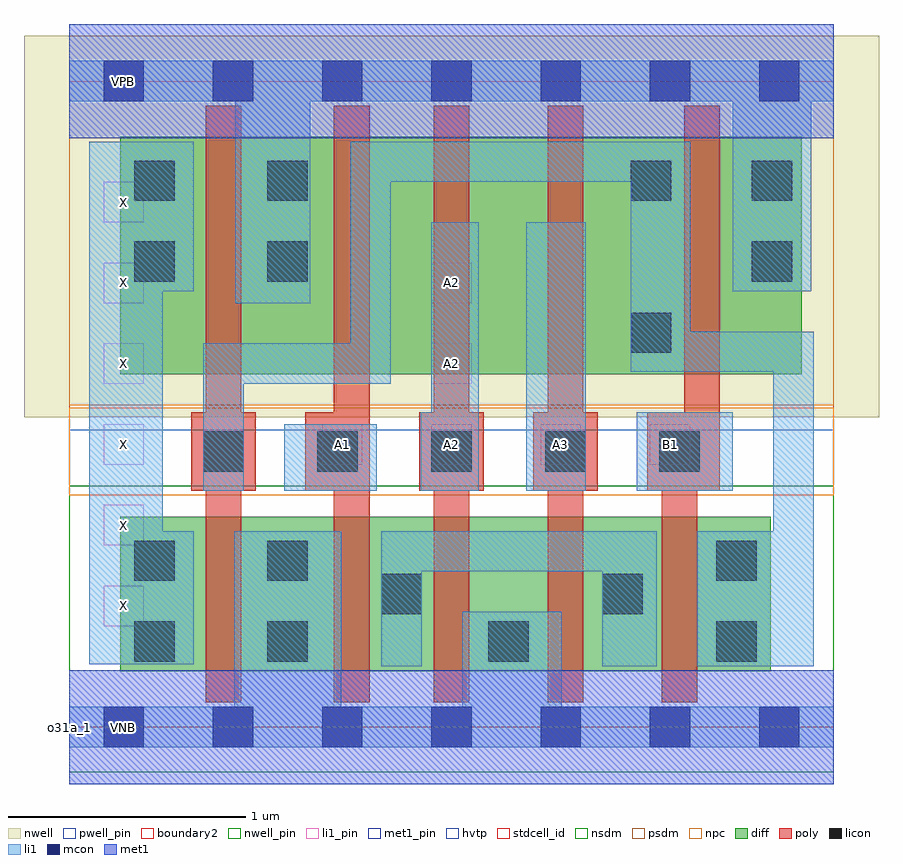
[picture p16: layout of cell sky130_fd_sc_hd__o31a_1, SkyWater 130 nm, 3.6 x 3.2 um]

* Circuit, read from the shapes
.subckt sky130_fd_sc_hd__o31a_1 A1 A2 A3 B1 VGND VNB VPB VPWR X
XM1 VGND n1 X VNB sky130_fd_pr__nfet_01v8 w=0.65 l=0.15
XM2 n2 A1 VGND VNB sky130_fd_pr__nfet_01v8 w=0.65 l=0.15
XM3 VGND A2 n2 VNB sky130_fd_pr__nfet_01v8 w=0.65 l=0.15
XM4 n2 A3 VGND VNB sky130_fd_pr__nfet_01v8 w=0.65 l=0.15
XM5 n1 B1 n2 VNB sky130_fd_pr__nfet_01v8 w=0.65 l=0.15
XM6 VPWR n1 X VPB sky130_fd_pr__pfet_01v8_hvt w=1 l=0.15
XM7 n3 A1 VPWR VPB sky130_fd_pr__pfet_01v8_hvt w=1 l=0.15
XM8 n4 A2 n3 VPB sky130_fd_pr__pfet_01v8_hvt w=1 l=0.15
XM9 n1 A3 n4 VPB sky130_fd_pr__pfet_01v8_hvt w=1 l=0.15
XM10 VPWR B1 n1 VPB sky130_fd_pr__pfet_01v8_hvt w=1 l=0.15
.ends

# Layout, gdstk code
import gdstk
lib = gdstk.Library(unit=1e-6, precision=1e-09)
def R(c, l, rs):  # rectangles x0, y0, x1, y1
    for r in rs: c.add(gdstk.rectangle(r[:2], r[2:], *l))
def A(c, l, x, y, w, h, nx, ny, dx, dy):  # array of equal rectangles
    R(c, l, [(x+i*dx, y+j*dy, x+i*dx+w, y+j*dy+h) for i in range(nx) for j in range(ny)])
def P(c, l, *ps):  # polygons
    for p in ps: c.add(gdstk.Polygon(p, *l))
nwell_pin = (64, 16)
nwell = (64, 20)
diff = (65, 20)
poly = (66, 20)
licon = (66, 44)
li1_pin = (67, 16)
li1 = (67, 20)
mcon = (67, 44)
met1_pin = (68, 16)
met1 = (68, 20)
hvtp = (78, 44)
stdcell_id = (81, 4)
nsdm = (93, 44)
psdm = (94, 20)
npc = (95, 20)
pwell_pin = (122, 16)
boundary2 = (236, 0)

sky130_fd_sc_hd__o31a_1 = lib.new_cell('sky130_fd_sc_hd__o31a_1')
R(sky130_fd_sc_hd__o31a_1, nwell_pin, [(0.145,2.635,0.315,2.805)])
R(sky130_fd_sc_hd__o31a_1, nwell, [(-0.19,1.305,3.41,2.91)])
R(sky130_fd_sc_hd__o31a_1, diff, [(0.215,0.235,2.955,0.885), (0.215,1.485,3.085,2.485)])
P(sky130_fd_sc_hd__o31a_1, poly, [(0.785,1.325),(0.725,1.325),(0.725,2.615),(0.575,2.615),(0.575,1.325),(0.515,1.325),(0.515,0.995),(0.575,0.995),(0.575,0.105),(0.725,0.105),(0.725,0.995),(0.785,0.995)],
  [(1.265,2.615),(1.115,2.615),(1.115,1.325),(0.995,1.325),(0.995,0.995),(1.115,0.995),(1.115,0.105),(1.265,0.105)],
  [(1.745,1.325),(1.685,1.325),(1.685,2.615),(1.535,2.615),(1.535,1.325),(1.475,1.325),(1.475,0.995),(1.535,0.995),(1.535,0.105),(1.685,0.105),(1.685,0.995),(1.745,0.995)],
  [(2.225,1.325),(2.165,1.325),(2.165,2.615),(2.015,2.615),(2.015,1.325),(1.955,1.325),(1.955,0.995),(2.015,0.995),(2.015,0.105),(2.165,0.105),(2.165,0.995),(2.225,0.995)],
  [(2.74,0.995),(2.74,2.615),(2.59,2.615),(2.59,1.325),(2.435,1.325),(2.435,0.995),(2.495,0.995),(2.495,0.105),(2.645,0.105),(2.645,0.995)])
A(sky130_fd_sc_hd__o31a_1, licon, 0.565, 1.075, 0.17, 0.17, 5, 1, 0.48, 0)
R(sky130_fd_sc_hd__o31a_1, licon, [(0.275,0.275,0.445,0.445), (0.835,0.275,1.005,0.445), (1.765,0.275,1.935,0.445), (2.725,0.275,2.895,0.445), (1.315,0.475,1.485,0.645), (2.245,0.475,2.415,0.645), (0.275,0.615,0.445,0.785), (0.835,0.615,1.005,0.785), (2.725,0.615,2.895,0.785), (2.365,1.575,2.535,1.745), (0.275,1.875,0.445,2.045), (0.835,1.875,1.005,2.045), (2.875,1.875,3.045,2.045), (0.275,2.215,0.445,2.385), (0.835,2.215,1.005,2.385), (2.365,2.215,2.535,2.385), (2.875,2.215,3.045,2.385)])
A(sky130_fd_sc_hd__o31a_1, li1_pin, 0.145, 0.425, 0.17, 0.17, 1, 6, 0, 0.34)
A(sky130_fd_sc_hd__o31a_1, li1_pin, 1.065, 1.105, 0.17, 0.17, 4, 1, 0.46, 0)
R(sky130_fd_sc_hd__o31a_1, li1_pin, [(1.525,1.445,1.695,1.615), (1.525,1.785,1.695,1.955)])
R(sky130_fd_sc_hd__o31a_1, li1, [(0.905,0.995,1.295,1.275), (1.925,0.995,2.175,2.125), (2.39,0.995,2.795,1.325)])
P(sky130_fd_sc_hd__o31a_1, li1, [(2.475,0.825),(1.315,0.825),(1.315,0.255),(1.485,0.255),(1.485,0.655),(2.245,0.655),(2.245,0.255),(2.475,0.255)],
  [(1.725,2.125),(1.525,2.125),(1.525,1.325),(1.48,1.325),(1.48,0.995),(1.725,0.995)],
  [(3.22,0.085),(2.075,0.085),(2.075,0.485),(1.655,0.485),(1.655,0.085),(1.145,0.085),(1.145,0.825),(0.695,0.825),(0.695,0.085),(0,0.085),(0,-0.085),(3.22,-0.085)],
  [(0.525,0.825),(0.395,0.825),(0.395,1.835),(0.525,1.835),(0.525,2.465),(0.085,2.465),(0.085,0.265),(0.525,0.265)],
  [(3.135,1.665),(2.615,1.665),(2.615,2.465),(1.185,2.465),(1.185,1.615),(0.565,1.615),(0.565,0.995),(0.735,0.995),(0.735,1.445),(1.355,1.445),(1.355,2.295),(2.365,2.295),(2.365,1.495),(2.965,1.495),(2.965,0.825),(2.645,0.825),(2.645,0.255),(3.135,0.255)],
  [(3.22,2.805),(0,2.805),(0,2.635),(0.7,2.635),(0.7,1.785),(1.015,1.785),(1.015,2.635),(2.795,2.635),(2.795,1.835),(3.125,1.835),(3.125,2.635),(3.22,2.635)])
A(sky130_fd_sc_hd__o31a_1, mcon, 0.145, -0.085, 0.17, 0.17, 7, 2, 0.46, 2.72)
R(sky130_fd_sc_hd__o31a_1, met1_pin, [(0.145,-0.085,0.315,0.085), (0.145,2.635,0.315,2.805)])
R(sky130_fd_sc_hd__o31a_1, hvtp, [(0,1.25,3.22,2.72)])
R(sky130_fd_sc_hd__o31a_1, stdcell_id, [(0,0,3.22,2.72)])
R(sky130_fd_sc_hd__o31a_1, nsdm, [(0,-0.19,3.22,1.015)])
R(sky130_fd_sc_hd__o31a_1, psdm, [(0,1.355,3.22,2.91)])
R(sky130_fd_sc_hd__o31a_1, npc, [(0,0.975,3.22,1.345)])
R(sky130_fd_sc_hd__o31a_1, pwell_pin, [(0.145,-0.085,0.315,0.085)])
R(sky130_fd_sc_hd__o31a_1, boundary2, [(0,0,3.22,2.72)])
sky130_fd_sc_hd__o31a_1.add(gdstk.FlexPath([(0,2.72),(3.22,2.72)], 0.48, ends="flush", simple_path=True, layer=68, datatype=20))  # met1
sky130_fd_sc_hd__o31a_1.add(gdstk.FlexPath([(0,0),(3.22,0)], 0.48, ends="flush", simple_path=True, layer=68, datatype=20))  # met1
sky130_fd_sc_hd__o31a_1.add(gdstk.Label('X', (0.23,1.19), layer=67, texttype=5))
sky130_fd_sc_hd__o31a_1.add(gdstk.Label('A2', (1.61,1.19), layer=67, texttype=5))
sky130_fd_sc_hd__o31a_1.add(gdstk.Label('B1', (2.53,1.19), layer=67, texttype=5))
sky130_fd_sc_hd__o31a_1.add(gdstk.Label('A2', (1.61,1.53), layer=67, texttype=5))
sky130_fd_sc_hd__o31a_1.add(gdstk.Label('A2', (1.61,1.87), layer=67, texttype=5))
sky130_fd_sc_hd__o31a_1.add(gdstk.Label('X', (0.23,0.85), layer=67, texttype=5))
sky130_fd_sc_hd__o31a_1.add(gdstk.Label('X', (0.23,0.51), layer=67, texttype=5))
sky130_fd_sc_hd__o31a_1.add(gdstk.Label('X', (0.23,1.53), layer=67, texttype=5))
sky130_fd_sc_hd__o31a_1.add(gdstk.Label('X', (0.23,1.87), layer=67, texttype=5))
sky130_fd_sc_hd__o31a_1.add(gdstk.Label('X', (0.23,2.21), layer=67, texttype=5))
sky130_fd_sc_hd__o31a_1.add(gdstk.Label('A1', (1.15,1.19), layer=67, texttype=5))
sky130_fd_sc_hd__o31a_1.add(gdstk.Label('A3', (2.07,1.19), layer=67, texttype=5))
sky130_fd_sc_hd__o31a_1.add(gdstk.Label('VPB', (0.23,2.72), layer=64, texttype=5))
sky130_fd_sc_hd__o31a_1.add(gdstk.Label('VNB', (0.23,0), layer=64, texttype=59))
sky130_fd_sc_hd__o31a_1.add(gdstk.Label('VGND', (0.23,0), layer=68, texttype=5))
sky130_fd_sc_hd__o31a_1.add(gdstk.Label('VPWR', (0.23,2.72), layer=68, texttype=5))
sky130_fd_sc_hd__o31a_1.add(gdstk.Label('o31a_1', (0,0), layer=83, texttype=44))

lib.write_gds('sky130_fd_sc_hd__o31a_1.gds')
